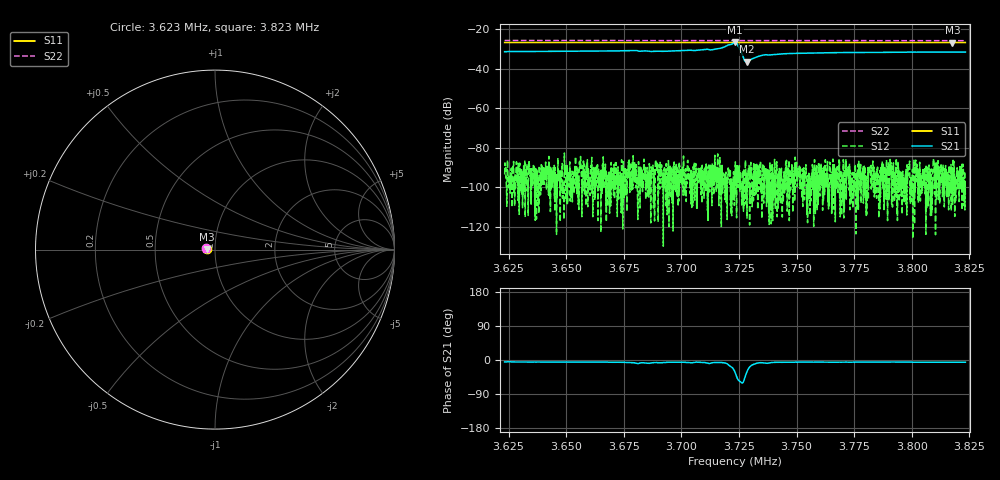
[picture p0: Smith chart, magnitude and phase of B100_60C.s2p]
# Hz S dB R 50.000
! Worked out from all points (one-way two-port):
!   6401 points, 3.623 MHz to 3.823 MHz, reference 50 ohm
!   highest |S21| = -26.73 dB at 3.723 MHz (marker M1); lowest = -36.5 dB at 3.728 MHz (marker M2)
!   lowest |S11| = -26.8 dB at 3.818 MHz (marker M3), VSWR 1.10, Z = 45.6 + j0.341 ohm
!   |S11| at or under -10 dB: start of sweep to end of sweep
!   |S22| runs from -25.8 to -25.7 dB; largest |S21 - S12| = 0.046
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3623281  -26.74 173.6  -31.38 -5.2  -93.15 -45.7  -25.71 171.9
3656625  -26.74 174.0  -31.16 -5.6  -94.45 87.6  -25.73 172.2
3679718  -26.74 174.1  -30.77 -7.5  -88.21 34.6  -25.74 172.4
3682125  -26.74 174.2  -31.16 -7.9  -96.62 59.7  -25.74 172.4
3689968  -26.75 174.2  -31.11 -6.9  -104.74 -120.4  -25.75 172.5
3705625  -26.75 174.4  -30.82 -6.3  -87.30 21.2  -25.76 172.6
3710750  -26.75 174.4  -30.15 -7.3  -90.39 67.4  -25.75 172.6
3713437  -26.75 174.5  -30.39 -7.2  -87.66 -53.8  -25.76 172.7
3717500  -26.75 174.5  -29.47 -6.9  -89.36 -118.4  -25.76 172.7
3723281  -26.75 174.5  -26.73 -32.1  -91.84 76.2  -25.76 172.8
3723906  -26.75 174.5  -27.02 -42.5  -100.36 144.1  -25.76 172.8
3724594  -26.75 174.5  -28.36 -51.8  -95.60 53.7  -25.76 172.8
3725594  -26.74 174.5  -30.50 -57.4  -94.44 -79.7  -25.77 172.8
3727281  -26.75 174.6  -35.51 -52.0  -101.29 -17.4  -25.76 172.8
3727781  -26.75 174.5  -36.28 -42.5  -87.31 45.6  -25.76 172.8
3728281  -26.75 174.6  -36.49 -33.6  -92.54 -32.9  -25.77 172.8
3732937  -26.75 174.6  -33.95 -8.3  -91.91 -7.8  -25.77 172.8
3735906  -26.75 174.6  -33.00 -7.6  -90.60 48.0  -25.77 172.9
3756625  -26.76 174.8  -32.03 -5.7  -94.95 175.5  -25.78 173.0
3789968  -26.76 175.1  -31.74 -5.6  -88.72 44.3  -25.80 173.3
3817656  -26.78 175.3  -31.57 -5.9  -94.05 87.9  -25.82 173.6
3823281  -26.77 175.4  -31.57 -5.9  -101.67 178.0  -25.82 173.6
